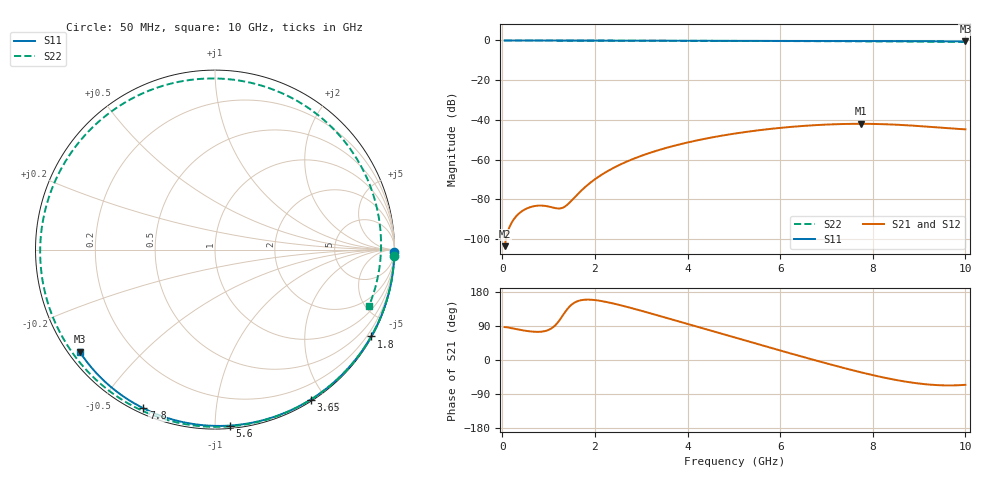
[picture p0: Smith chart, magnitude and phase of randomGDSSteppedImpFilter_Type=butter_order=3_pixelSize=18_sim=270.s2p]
! freq	dB(S11)	phase(S11)	dB(S12)	phase(S12)
!  dB(S21)	phase(S21)	dB(S22)	phase(S22)
!S-par simulation data
#  GHz  S  DB  R 50
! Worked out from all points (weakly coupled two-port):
!   200 points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, 50 MHz to 10 GHz, reference 50 ohm
!   highest |S21| = -41.99 dB at 7.75 GHz (marker M1); lowest = -103.6 dB at 50 MHz (marker M2)
!   lowest |S11| = -0.5 dB at 10 GHz (marker M3), VSWR 35.06, Z = 1.59 - j16.8 ohm
!   |S11| at or under -10 dB: nowhere
!   |S22| runs from -0.8 to 0.0 dB; largest |S21 - S12| = 0
!   S11 on the Smith chart (normalised r, x): 50 MHz: open; 1.8 GHz: 0.03, -3.86; 3.65 GHz: 0.02, -1.82; 5.6 GHz: 0.02, -1.09; 7.8 GHz: 0.02, -0.65; 10 GHz: 0.03, -0.34
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0.05  -0.00 -0.8  -103.64 86.8  -103.64 86.8  -0.01 -2.2
0.7  -0.01 -11.4  -83.43 74.5  -83.43 74.5  -0.03 -29.6
1.5  -0.03 -24.3  -80.58 146.4  -80.58 146.4  -0.08 -61.9
1.75  -0.04 -28.3  -74.68 158.7  -74.68 158.7  -0.09 -71.6
1.8  -0.04 -29.1  -73.64 159.2  -73.64 159.2  -0.09 -73.5
2.1  -0.04 -33.8  -68.33 156.4  -68.33 156.4  -0.10 -84.7
2.45  -0.05 -39.3  -63.62 147.6  -63.62 147.6  -0.11 -97.3
3.4  -0.07 -53.8  -55.07 116.2  -55.07 116.2  -0.15 -129.8
3.65  -0.08 -57.5  -53.43 107.5  -53.43 107.5  -0.16 -137.9
4.35  -0.10 -67.7  -49.65 82.8  -49.65 82.8  -0.19 -160.4
5.05  -0.12 -77.7  -46.80 58.2  -46.80 58.2  -0.23 177.2
5.6  -0.14 -85.3  -45.06 38.9  -45.06 38.9  -0.27 159.3
6.15  -0.17 -92.7  -43.72 19.9  -43.72 19.9  -0.31 140.6
6.7  -0.19 -100.0  -42.74 1.1  -42.74 1.1  -0.35 120.9
7.25  -0.23 -107.2  -42.16 -17.0  -42.16 -17.0  -0.39 100.0
7.75  -0.26 -113.6  -41.99 -32.7  -41.99 -32.7  -0.44 79.8
7.8  -0.27 -114.3  -42.00 -34.1  -42.00 -34.1  -0.44 77.7
8.35  -0.31 -121.3  -42.28 -49.1  -42.28 -49.1  -0.50 54.2
8.8  -0.35 -127.1  -42.82 -58.8  -42.82 -58.8  -0.55 34.2
9.2  -0.40 -132.2  -43.47 -64.6  -43.47 -64.6  -0.61 16.1
9.6  -0.44 -137.5  -44.17 -67.1  -44.17 -67.1  -0.69 -2.0
10  -0.50 -142.9  -44.77 -65.5  -44.77 -65.5  -0.78 -20.0
